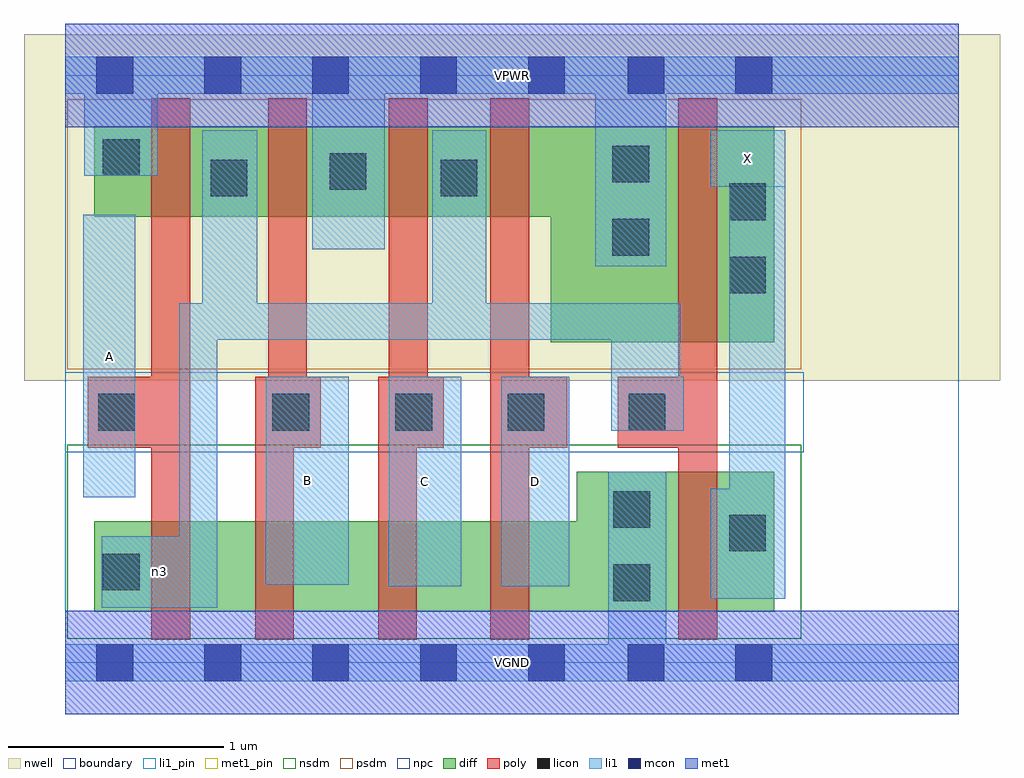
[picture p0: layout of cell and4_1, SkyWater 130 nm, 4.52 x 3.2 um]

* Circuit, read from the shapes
.subckt and4_1 A B C D VGND VPWR X n3
XM1 n1 A n3 VSUBS sky130_fd_pr__nfet_01v8 w=0.42 l=0.18
XM2 n2 B n1 VSUBS sky130_fd_pr__nfet_01v8 w=0.42 l=0.18
XM3 n4 C n2 VSUBS sky130_fd_pr__nfet_01v8 w=0.42 l=0.18
XM4 VGND D n4 VSUBS sky130_fd_pr__nfet_01v8 w=0.42 l=0.18
XM5 X n3 VGND VSUBS sky130_fd_pr__nfet_01v8 w=0.65 l=0.18
XM6 n3 A VPWR n5 sky130_fd_pr__pfet_01v8 w=0.42 l=0.18
XM7 VPWR B n3 n5 sky130_fd_pr__pfet_01v8 w=0.42 l=0.18
XM8 n3 C VPWR n5 sky130_fd_pr__pfet_01v8 w=0.42 l=0.18
XM9 VPWR D n3 n5 sky130_fd_pr__pfet_01v8 w=0.42 l=0.18
XM10 X n3 VPWR n5 sky130_fd_pr__pfet_01v8 w=1 l=0.18
.ends

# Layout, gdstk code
import gdstk
lib = gdstk.Library(unit=1e-6, precision=1e-09)
def R(c, l, rs):  # rectangles x0, y0, x1, y1
    for r in rs: c.add(gdstk.rectangle(r[:2], r[2:], *l))
def A(c, l, x, y, w, h, nx, ny, dx, dy):  # array of equal rectangles
    R(c, l, [(x+i*dx, y+j*dy, x+i*dx+w, y+j*dy+h) for i in range(nx) for j in range(ny)])
nwell = (64, 20)
diff = (65, 20)
poly = (66, 20)
licon = (66, 44)
li1_pin = (67, 16)
li1 = (67, 20)
mcon = (67, 44)
met1_pin = (68, 16)
met1 = (68, 20)
nsdm = (93, 44)
psdm = (94, 20)
npc = (95, 20)
boundary = (235, 4)

and4_1 = lib.new_cell('and4_1')
R(and4_1, nwell, [(-0.19,1.305,4.33,2.91), (0,1.305,4.14,2.91)])
R(and4_1, diff, [(0.135,0.235,3.285,0.655), (2.37,0.235,3.285,0.885), (2.25,1.485,3.285,2.485), (0.135,2.065,3.285,2.485)])
R(and4_1, poly, [(0.4,0.105,0.58,2.615), (0.88,0.105,1.06,1.325), (1.45,0.105,1.63,1.325), (1.97,0.105,2.15,2.615), (2.84,0.105,3.02,2.615), (0.105,0.995,0.58,1.325), (0.88,0.995,1.185,1.325), (0.94,0.995,1.12,2.615), (1.45,0.995,1.755,1.325), (1.5,0.995,1.68,2.615), (1.97,0.995,2.325,1.325), (2.56,0.995,3.02,1.325)])
R(and4_1, licon, [(2.54,0.285,2.71,0.455), (0.175,0.335,0.345,0.505), (3.075,0.515,3.245,0.685), (2.54,0.625,2.71,0.795), (0.155,1.075,0.325,1.245), (0.96,1.075,1.13,1.245), (1.53,1.075,1.7,1.245), (2.05,1.075,2.22,1.245), (2.61,1.075,2.78,1.245), (3.075,1.71,3.245,1.88), (2.535,1.885,2.705,2.055), (3.075,2.05,3.245,2.22), (0.675,2.16,0.845,2.33), (1.74,2.16,1.91,2.33), (1.225,2.19,1.395,2.36), (2.535,2.225,2.705,2.395), (0.175,2.255,0.345,2.425)])
R(and4_1, li1_pin, [(1.5,0.355,1.835,1.325), (2.02,0.355,2.335,1.325), (0.93,0.36,1.315,1.325), (0.085,0.765,0.325,2.075), (2.99,2.205,3.335,2.465)])
R(and4_1, li1, [(0,-0.085,4.14,0.085), (2.515,-0.085,2.785,0.885), (0.17,0.255,0.705,0.585), (0.53,0.255,0.705,1.665), (2.99,0.295,3.335,0.805), (3.075,0.295,3.335,2.465), (1.5,0.355,1.835,1.325), (2.02,0.355,2.335,1.325), (0.93,0.36,1.315,1.325), (0.085,0.765,0.325,2.075), (2.53,1.075,2.85,1.665), (2.53,1.075,2.865,1.325), (0.53,1.495,2.85,1.665), (0.635,1.495,0.89,2.465), (1.7,1.495,1.95,2.465), (2.455,1.835,2.785,2.805), (1.145,1.915,1.48,2.805), (2.99,2.205,3.335,2.465), (0.09,2.255,0.43,2.805), (0,2.635,4.14,2.805)])
A(and4_1, mcon, 0.145, -0.085, 0.17, 0.17, 5, 2, 0.5, 2.72)
R(and4_1, mcon, [(2.605,-0.085,2.775,0.085), (3.105,-0.085,3.275,0.085), (2.605,2.635,2.775,2.805), (3.105,2.635,3.275,2.805)])
R(and4_1, met1_pin, [(0,-0.24,4.14,0.24), (0,2.48,4.14,2.96)])
R(and4_1, met1, [(0,-0.24,4.14,0.24), (0,2.48,4.14,2.96)])
R(and4_1, nsdm, [(0.01,0.11,3.41,1.01)])
R(and4_1, psdm, [(0.01,1.36,3.41,2.61)])
R(and4_1, npc, [(0,0.975,3.42,1.345)])
R(and4_1, boundary, [(0,0,4.14,2.72)])
and4_1.add(gdstk.Label('A', (0.205,1.42), layer=67, texttype=5))
and4_1.add(gdstk.Label('B', (1.122,0.842), layer=67, texttype=5))
and4_1.add(gdstk.Label('C', (1.667,0.84), layer=67, texttype=5))
and4_1.add(gdstk.Label('D', (2.177,0.84), layer=67, texttype=5))
and4_1.add(gdstk.Label('X', (3.162,2.335), layer=67, texttype=5))
and4_1.add(gdstk.Label('n3', (0.437,0.42), layer=67, texttype=5))
and4_1.add(gdstk.Label('VPWR', (2.07,2.72), layer=68, texttype=5))
and4_1.add(gdstk.Label('VGND', (2.07,0), layer=68, texttype=5))
and4_1.add(gdstk.Label('A', (0.205,1.42), layer=67, texttype=16))
and4_1.add(gdstk.Label('B', (1.122,0.842), layer=67, texttype=16))
and4_1.add(gdstk.Label('C', (1.667,0.84), layer=67, texttype=16))
and4_1.add(gdstk.Label('D', (2.177,0.84), layer=67, texttype=16))
and4_1.add(gdstk.Label('X', (3.162,2.335), layer=67, texttype=16))
and4_1.add(gdstk.Label('VPWR', (2.07,2.72), layer=68, texttype=16))
and4_1.add(gdstk.Label('VGND', (2.07,0), layer=68, texttype=16))

lib.write_gds('and4_1.gds')
